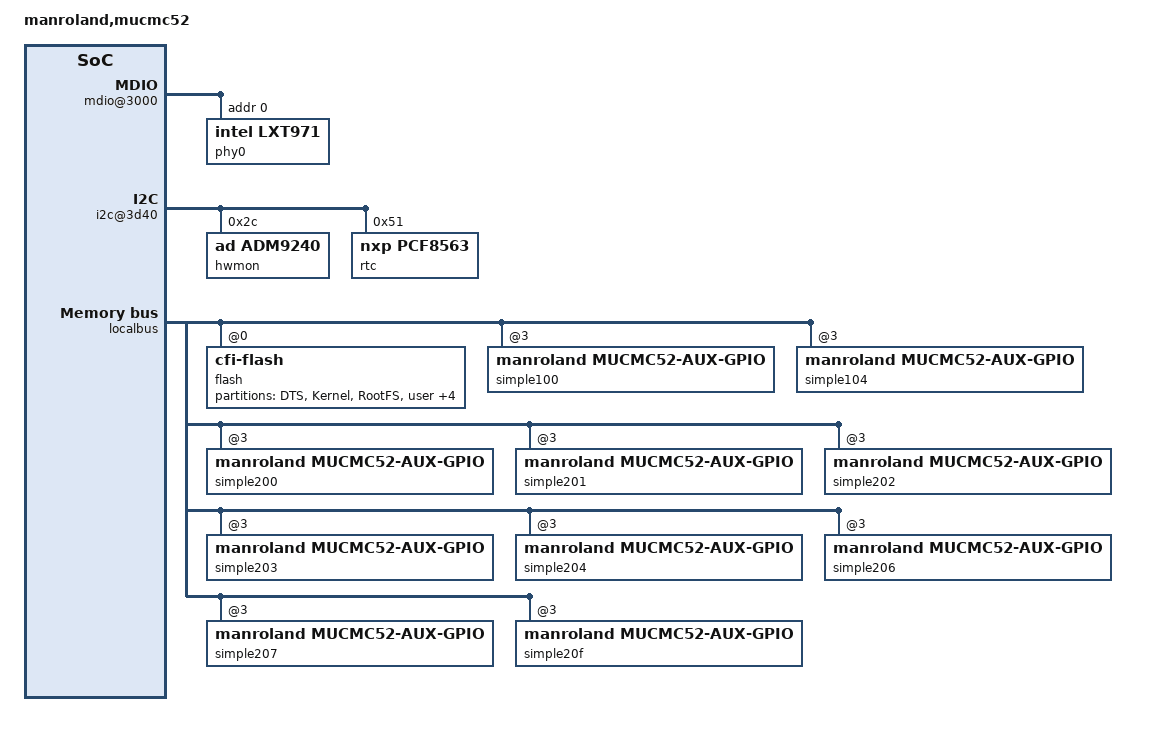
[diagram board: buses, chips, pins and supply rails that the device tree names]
// SPDX-License-Identifier: GPL-2.0-or-later
/*
 * Manroland mucmc52 board Device Tree Source
 *
 * Copyright (C) 2009 DENX Software Engineering GmbH
 * Heiko Schocher <hs@denx.de>
 * Copyright 2006-2007 Secret Lab Technologies Ltd.
 */

/include/ "mpc5200b.dtsi"

/* Timer pins that need to be in GPIO mode */
&gpt0 { gpio-controller; };
&gpt1 { gpio-controller; };
&gpt2 { gpio-controller; };
&gpt3 { gpio-controller; };

/* Disabled timers */
&gpt4 { status = "disabled"; };
&gpt5 { status = "disabled"; };
&gpt6 { status = "disabled"; };
&gpt7 { status = "disabled"; };

/ {
	model = "manroland,mucmc52";
	compatible = "manroland,mucmc52";

	soc5200@f0000000 {
		rtc@800 {
			status = "disabled";
		};

		can@900 {
			status = "disabled";
		};

		can@980 {
			status = "disabled";
		};

		spi@f00 {
			status = "disabled";
		};

		usb@1000 {
			status = "disabled";
		};

		psc@2000 {		// PSC1
			compatible = "fsl,mpc5200b-psc-uart","fsl,mpc5200-psc-uart";
		};

		psc@2200 {		// PSC2
			compatible = "fsl,mpc5200b-psc-uart","fsl,mpc5200-psc-uart";
		};

		psc@2400 {		// PSC3
			status = "disabled";
		};

		psc@2600 {		// PSC4
			status = "disabled";
		};

		psc@2800 {		// PSC5
			status = "disabled";
		};

		psc@2c00 {		// PSC6
			compatible = "fsl,mpc5200b-psc-uart","fsl,mpc5200-psc-uart";
		};

		ethernet@3000 {
			phy-handle = <&phy0>;
		};

		mdio@3000 {
			phy0: ethernet-phy@0 {
				compatible = "intel,lxt971";
				reg = <0>;
			};
		};

		i2c@3d00 {
			status = "disabled";
		};

		i2c@3d40 {
			hwmon@2c {
				compatible = "ad,adm9240";
				reg = <0x2c>;
			};
			rtc@51 {
				compatible = "nxp,pcf8563";
				reg = <0x51>;
			};
		};
	};

	pci@f0000d00 {
		interrupt-map-mask = <0xf800 0 0 7>;
		interrupt-map = <
				/* IDSEL 0x10 */
				0x8000 0 0 1 &mpc5200_pic 0 3 3
				0x8000 0 0 2 &mpc5200_pic 0 3 3
				0x8000 0 0 3 &mpc5200_pic 0 2 3
				0x8000 0 0 4 &mpc5200_pic 0 1 3
				>;
		ranges = <0x42000000 0 0x60000000 0x60000000 0 0x10000000>,
			 <0x02000000 0 0x90000000 0x90000000 0 0x10000000>,
			 <0x01000000 0 0x00000000 0xa0000000 0 0x01000000>;
	};

	localbus {
		ranges = <0 0 0xff800000 0x00800000
			  1 0 0x80000000 0x00800000
			  3 0 0x80000000 0x00800000>;

		flash@0,0 {
			compatible = "cfi-flash";
			reg = <0 0 0x00800000>;
			bank-width = <4>;
			device-width = <2>;
			#size-cells = <1>;
			#address-cells = <1>;
			partition@0 {
				label = "DTS";
				reg = <0x0 0x00100000>;
			};
			partition@100000 {
				label = "Kernel";
				reg = <0x100000 0x00200000>;
			};
			partition@300000 {
				label = "RootFS";
				reg = <0x00300000 0x00200000>;
			};
			partition@500000 {
				label = "user";
				reg = <0x00500000 0x00200000>;
			};
			partition@700000 {
				label = "U-Boot";
				reg = <0x00700000 0x00040000>;
			};
			partition@740000 {
				label = "Env";
				reg = <0x00740000 0x00020000>;
			};
			partition@760000 {
				label = "red. Env";
				reg = <0x00760000 0x00020000>;
			};
			partition@780000 {
				label = "reserve";
				reg = <0x00780000 0x00080000>;
			};
		};

		simple100: gpio-controller-100@3,600100 {
			compatible = "manroland,mucmc52-aux-gpio";
			reg = <3 0x00600100 0x1>;
			gpio-controller;
			#gpio-cells = <2>;
		};
		simple104: gpio-controller-104@3,600104 {
			compatible = "manroland,mucmc52-aux-gpio";
			reg = <3 0x00600104 0x1>;
			gpio-controller;
			#gpio-cells = <2>;
		};
		simple200: gpio-controller-200@3,600200 {
			compatible = "manroland,mucmc52-aux-gpio";
			reg = <3 0x00600200 0x1>;
			gpio-controller;
			#gpio-cells = <2>;
		};
		simple201: gpio-controller-201@3,600201 {
			compatible = "manroland,mucmc52-aux-gpio";
			reg = <3 0x00600201 0x1>;
			gpio-controller;
			#gpio-cells = <2>;
		};
		simple202: gpio-controller-202@3,600202 {
			compatible = "manroland,mucmc52-aux-gpio";
			reg = <3 0x00600202 0x1>;
			gpio-controller;
			#gpio-cells = <2>;
		};
		simple203: gpio-controller-203@3,600203 {
			compatible = "manroland,mucmc52-aux-gpio";
			reg = <3 0x00600203 0x1>;
			gpio-controller;
			#gpio-cells = <2>;
		};
		simple204: gpio-controller-204@3,600204 {
			compatible = "manroland,mucmc52-aux-gpio";
			reg = <3 0x00600204 0x1>;
			gpio-controller;
			#gpio-cells = <2>;
		};
		simple206: gpio-controller-206@3,600206 {
			compatible = "manroland,mucmc52-aux-gpio";
			reg = <3 0x00600206 0x1>;
			gpio-controller;
			#gpio-cells = <2>;
		};
		simple207: gpio-controller-207@3,600207 {
			compatible = "manroland,mucmc52-aux-gpio";
			reg = <3 0x00600207 0x1>;
			gpio-controller;
			#gpio-cells = <2>;
		};
		simple20f: gpio-controller-20f@3,60020f {
			compatible = "manroland,mucmc52-aux-gpio";
			reg = <3 0x0060020f 0x1>;
			gpio-controller;
			#gpio-cells = <2>;
		};

	};
};
